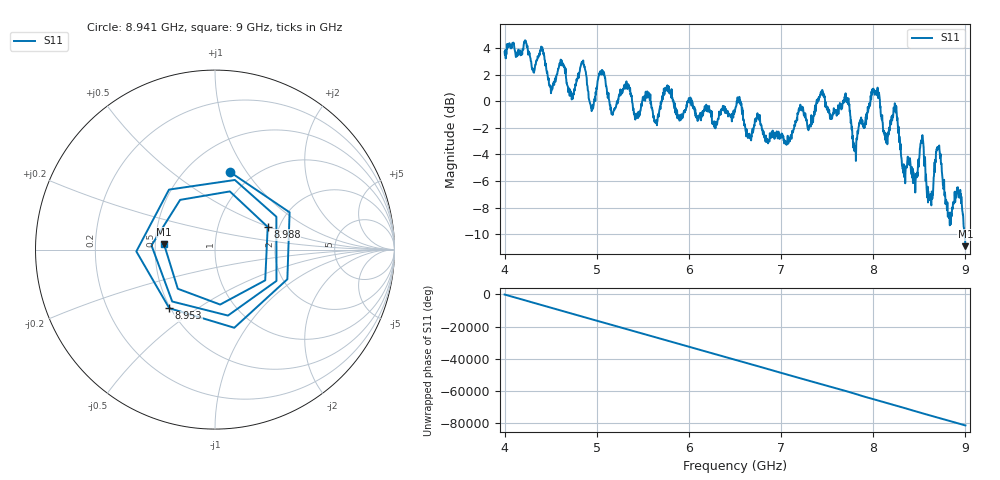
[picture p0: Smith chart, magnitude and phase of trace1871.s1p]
! Created with skrf 1.8.0 (http://scikit-rf.org).
# Hz S RI R 50.0
!freq ReS11 ImS11
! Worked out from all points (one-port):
!   1601 points, 4 GHz to 9 GHz, reference 50 ohm
!   lowest |S11| = -10.9 dB at 9 GHz (marker M1), VSWR 1.80, Z = 27.9 + j1.78 ohm
!   |S11| at or under -10 dB: 8.992704 GHz to end of sweep
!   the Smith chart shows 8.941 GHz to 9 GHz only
!   S11 on the Smith chart (normalised r, x): 8.941 GHz: 0.79, +0.84; 8.953 GHz: 0.49, -0.39; 8.988 GHz: 1.74, +0.49; 9 GHz: 0.56, +0.04
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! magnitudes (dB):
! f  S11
! 4 GHz  3.7
! 4.406 GHz  4.0
! 4.506 GHz  0.8
! 4.625 GHz  2.7
! 4.728 GHz  0.1
! 4.856 GHz  2.8
! 4.944 GHz  -0.7
! 5.047 GHz  2.2
! 5.166 GHz  -0.9
! 5.25 GHz  0.6
! 5.875 GHz  -1.3
! 6.5 GHz  -0.7
! 7.125 GHz  -2.4
! 7.441 GHz  0.8
! 7.75 GHz  -1.1
! 7.8 GHz  -3.6
! 8.025 GHz  0.7
! 8.241 GHz  -0.3
! 8.375 GHz  -4.2
! 8.456 GHz  -6.9
! 8.525 GHz  -3.1
! 8.619 GHz  -7.4
! 8.706 GHz  -3.6
! 8.825 GHz  -8.4
! 8.941 GHz  -7.1
! 8.953 GHz  -7.7
! 8.988 GHz  -9.9
! 9 GHz  -10.9
